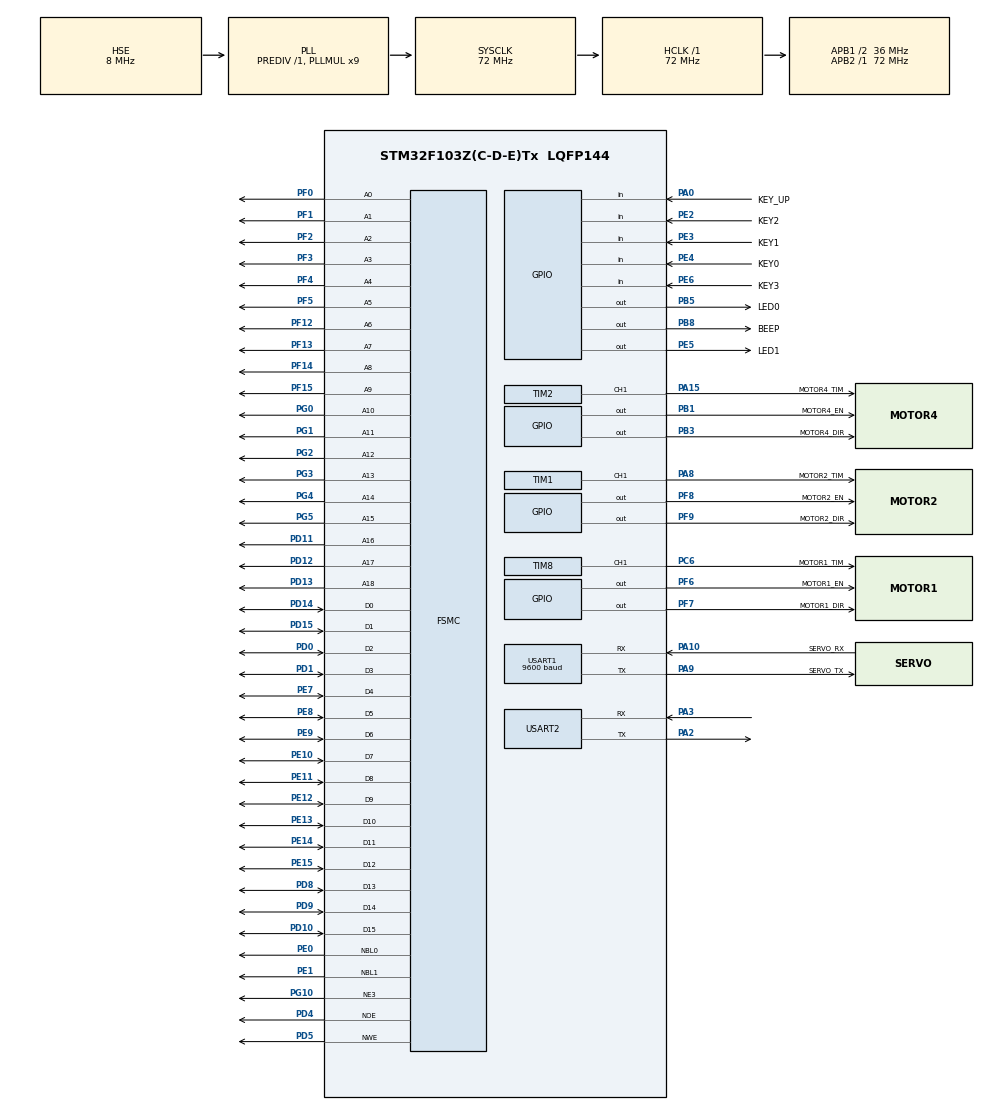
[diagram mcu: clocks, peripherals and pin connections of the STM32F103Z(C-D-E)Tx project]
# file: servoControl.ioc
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Dma.Request0=USART1_RX
Dma.USART1_RX.0.Direction=DMA_PERIPH_TO_MEMORY
Dma.USART1_RX.0.Instance=DMA1_Channel5
Dma.USART1_RX.0.MemDataAlignment=DMA_MDATAALIGN_BYTE
Dma.USART1_RX.0.MemInc=DMA_MINC_ENABLE
Dma.USART1_RX.0.Mode=DMA_NORMAL
Dma.USART1_RX.0.PeriphDataAlignment=DMA_PDATAALIGN_BYTE
Dma.USART1_RX.0.PeriphInc=DMA_PINC_DISABLE
Dma.USART1_RX.0.Priority=DMA_PRIORITY_LOW
FSMC.AddressSetupTime1=0x00
FSMC.BusTurnAroundDuration1=0x00
FSMC.DataSetupTime1=0x03
FSMC.WriteOperation1=FSMC_WRITE_OPERATION_ENABLE
Mcu.Family=STM32F1
Mcu.Name=STM32F103Z(C-D-E)Tx
Mcu.Package=LQFP144
Mcu.UserConstants=PSC,18 - 1;ARR,0xFFFF - 1
NVIC.DMA1_Channel5_IRQn=true\:0\:0\:false\:false\:true\:false\:true\:true
NVIC.PriorityGroup=NVIC_PRIORITYGROUP_4
NVIC.TIM1_CC_IRQn=true\:2\:0\:true\:false\:true\:true\:true\:true
NVIC.TIM2_IRQn=true\:2\:0\:true\:false\:true\:true\:true\:true
NVIC.TIM8_CC_IRQn=true\:2\:0\:true\:false\:true\:true\:true\:true
NVIC.USART1_IRQn=true\:0\:0\:false\:false\:true\:true\:true\:true
NVIC.USART2_IRQn=true\:0\:0\:false\:false\:true\:true\:true\:true
OSC_IN.Mode=HSE-External-Oscillator
OSC_IN.Signal=RCC_OSC_IN
OSC_OUT.Mode=HSE-External-Oscillator
OSC_OUT.Signal=RCC_OSC_OUT
PA0-WKUP.GPIO_Label=KEY_UP
PA0-WKUP.GPIO_PuPd=GPIO_PULLDOWN
PA0-WKUP.Signal=GPIO_Input
PA10.GPIO_Label=SERVO_RX
PA10.Mode=Asynchronous
PA10.Signal=USART1_RX
PA13.Mode=Serial_Wire
PA13.Signal=SYS_JTMS-SWDIO
PA14.Mode=Serial_Wire
PA14.Signal=SYS_JTCK-SWCLK
PA15.GPIO_Label=MOTOR4_TIM
PA15.Signal=S_TIM2_CH1_ETR
PA2.Mode=Asynchronous
PA2.Signal=USART2_TX
PA3.Mode=Asynchronous
PA3.Signal=USART2_RX
PA8.GPIO_Label=MOTOR2_TIM
PA8.GPIO_Speed=GPIO_SPEED_FREQ_HIGH
PA8.Signal=S_TIM1_CH1
PA9.GPIO_Label=SERVO_TX
PA9.Mode=Asynchronous
PA9.Signal=USART1_TX
PB1.GPIO_Label=MOTOR4_EN
PB1.GPIO_Speed=GPIO_SPEED_FREQ_LOW
PB1.Signal=GPIO_Output
PB3.GPIO_Label=MOTOR4_DIR
PB3.GPIO_Speed=GPIO_SPEED_FREQ_HIGH
PB3.PinState=GPIO_PIN_SET
PB3.Signal=GPIO_Output
PB5.GPIO_Label=LED0
PB5.GPIO_PuPd=GPIO_PULLUP
PB5.GPIO_Speed=GPIO_SPEED_FREQ_HIGH
PB5.PinState=GPIO_PIN_SET
PB5.Signal=GPIO_Output
PB8.GPIO_Label=BEEP
PB8.GPIO_ModeDefaultOutputPP=GPIO_MODE_OUTPUT_PP
PB8.GPIO_PuPd=GPIO_PULLUP
PB8.GPIO_Speed=GPIO_SPEED_FREQ_HIGH
PB8.Signal=GPIO_Output
PC6.GPIO_Label=MOTOR1_TIM
PC6.GPIO_Speed=GPIO_SPEED_FREQ_HIGH
PC6.Signal=S_TIM8_CH1
PD0.Signal=FSMC_D2_DA2
PD1.Signal=FSMC_D3_DA3
PD10.Signal=FSMC_D15_DA15
PD11.Signal=FSMC_A16_CLE
PD12.Signal=FSMC_A17_ALE
PD13.Signal=FSMC_A18
PD14.Signal=FSMC_D0_DA0
PD15.Signal=FSMC_D1_DA1
PD4.Signal=FSMC_NOE
PD5.Signal=FSMC_NWE
PD8.Signal=FSMC_D13_DA13
PD9.Signal=FSMC_D14_DA14
PE0.Signal=FSMC_NBL0
PE1.Signal=FSMC_NBL1
PE10.Signal=FSMC_D7_DA7
PE11.Signal=FSMC_D8_DA8
PE12.Signal=FSMC_D9_DA9
PE13.Signal=FSMC_D10_DA10
PE14.Signal=FSMC_D11_DA11
PE15.Signal=FSMC_D12_DA12
PE2.GPIO_Label=KEY2
PE2.GPIO_PuPd=GPIO_PULLUP
PE2.Signal=GPIO_Input
PE3.GPIO_Label=KEY1
PE3.GPIO_PuPd=GPIO_PULLUP
PE3.Signal=GPIO_Input
PE4.GPIO_Label=KEY0
PE4.GPIO_PuPd=GPIO_PULLDOWN
PE4.Signal=GPIO_Input
PE5.GPIO_Label=LED1
PE5.GPIO_PuPd=GPIO_PULLUP
PE5.GPIO_Speed=GPIO_SPEED_FREQ_HIGH
PE5.PinState=GPIO_PIN_SET
PE5.Signal=GPIO_Output
PE6.GPIO_Label=KEY3
PE6.GPIO_PuPd=GPIO_PULLUP
PE6.Signal=GPIO_Input
PE7.Signal=FSMC_D4_DA4
PE8.Signal=FSMC_D5_DA5
PE9.Signal=FSMC_D6_DA6
PF0.Signal=FSMC_A0
PF1.Signal=FSMC_A1
PF12.Signal=FSMC_A6
PF13.Signal=FSMC_A7
PF14.Signal=FSMC_A8
PF15.Signal=FSMC_A9
PF2.Signal=FSMC_A2
PF3.Signal=FSMC_A3
PF4.Signal=FSMC_A4
PF5.Signal=FSMC_A5
PF6.GPIO_Label=MOTOR1_EN
PF6.Signal=GPIO_Output
PF7.GPIO_Label=MOTOR1_DIR
PF7.GPIO_Speed=GPIO_SPEED_FREQ_HIGH
PF7.PinState=GPIO_PIN_SET
PF7.Signal=GPIO_Output
PF8.GPIO_Label=MOTOR2_EN
PF8.Signal=GPIO_Output
PF9.GPIO_Label=MOTOR2_DIR
PF9.GPIO_Speed=GPIO_SPEED_FREQ_HIGH
PF9.PinState=GPIO_PIN_SET
PF9.Signal=GPIO_Output
PG0.Signal=FSMC_A10
PG1.Signal=FSMC_A11
PG10.Mode=NorPsramChipSelect3_1
PG10.Signal=FSMC_NE3
PG2.Signal=FSMC_A12
PG3.Signal=FSMC_A13
PG4.Signal=FSMC_A14
PG5.Signal=FSMC_A15
ProjectManager.HeapSize=0x200
ProjectManager.StackSize=0x400
ProjectManager.TargetToolchain=MDK-ARM V5.32
RCC.AHBFreq_Value=72000000
RCC.APB1CLKDivider=RCC_HCLK_DIV2
RCC.APB1Freq_Value=36000000
RCC.APB1TimFreq_Value=72000000
RCC.APB2Freq_Value=72000000
RCC.APB2TimFreq_Value=72000000
RCC.HCLKFreq_Value=72000000
RCC.PLLMUL=RCC_PLL_MUL9
RCC.PLLSourceVirtual=RCC_PLLSOURCE_HSE
RCC.SYSCLKFreq_VALUE=72000000
RCC.SYSCLKSource=RCC_SYSCLKSOURCE_PLLCLK
RCC.USBFreq_Value=72000000
SH.FSMC_A0.0=FSMC_A0,19b-a1
SH.FSMC_A1.0=FSMC_A1,19b-a1
SH.FSMC_A10.0=FSMC_A10,19b-a1
SH.FSMC_A11.0=FSMC_A11,19b-a1
SH.FSMC_A12.0=FSMC_A12,19b-a1
SH.FSMC_A13.0=FSMC_A13,19b-a1
SH.FSMC_A14.0=FSMC_A14,19b-a1
SH.FSMC_A15.0=FSMC_A15,19b-a1
SH.FSMC_A16_CLE.0=FSMC_A16,19b-a1
SH.FSMC_A17_ALE.0=FSMC_A17,19b-a1
SH.FSMC_A18.0=FSMC_A18,19b-a1
SH.FSMC_A2.0=FSMC_A2,19b-a1
SH.FSMC_A3.0=FSMC_A3,19b-a1
SH.FSMC_A4.0=FSMC_A4,19b-a1
SH.FSMC_A5.0=FSMC_A5,19b-a1
SH.FSMC_A6.0=FSMC_A6,19b-a1
SH.FSMC_A7.0=FSMC_A7,19b-a1
SH.FSMC_A8.0=FSMC_A8,19b-a1
SH.FSMC_A9.0=FSMC_A9,19b-a1
SH.FSMC_D0_DA0.0=FSMC_D0,16b-d1
SH.FSMC_D10_DA10.0=FSMC_D10,16b-d1
SH.FSMC_D11_DA11.0=FSMC_D11,16b-d1
SH.FSMC_D12_DA12.0=FSMC_D12,16b-d1
SH.FSMC_D13_DA13.0=FSMC_D13,16b-d1
SH.FSMC_D14_DA14.0=FSMC_D14,16b-d1
SH.FSMC_D15_DA15.0=FSMC_D15,16b-d1
SH.FSMC_D1_DA1.0=FSMC_D1,16b-d1
SH.FSMC_D2_DA2.0=FSMC_D2,16b-d1
SH.FSMC_D3_DA3.0=FSMC_D3,16b-d1
SH.FSMC_D4_DA4.0=FSMC_D4,16b-d1
SH.FSMC_D5_DA5.0=FSMC_D5,16b-d1
SH.FSMC_D6_DA6.0=FSMC_D6,16b-d1
SH.FSMC_D7_DA7.0=FSMC_D7,16b-d1
SH.FSMC_D8_DA8.0=FSMC_D8,16b-d1
SH.FSMC_D9_DA9.0=FSMC_D9,16b-d1
SH.FSMC_NBL0.0=FSMC_NBL0,2ByteEnable1
SH.FSMC_NBL1.0=FSMC_NBL1,2ByteEnable1
SH.FSMC_NOE.0=FSMC_NOE,Sram1
SH.FSMC_NWE.0=FSMC_NWE,Sram1
SH.S_TIM1_CH1.0=TIM1_CH1,Output Compare1 CH1
SH.S_TIM2_CH1_ETR.0=TIM2_CH1,Output Compare1 CH1
SH.S_TIM8_CH1.0=TIM8_CH1,Output Compare1 CH1
TIM1.Channel-Output\ Compare1\ CH1=TIM_CHANNEL_1
TIM1.OCMode_1=TIM_OCMODE_TOGGLE
TIM1.Period=ARR
TIM1.Prescaler=PSC
TIM1.Pulse-Output\ Compare1\ CH1=500
TIM2.Channel-Output\ Compare1\ CH1=TIM_CHANNEL_1
TIM2.OCMode_1=TIM_OCMODE_TOGGLE
TIM2.Period=ARR
TIM2.Prescaler=PSC
TIM2.Pulse-Output\ Compare1\ CH1=500
TIM6.Period=10000
TIM6.Prescaler=72 - 1
TIM8.AutoReloadPreload=TIM_AUTORELOAD_PRELOAD_DISABLE
TIM8.BreakPolarity=TIM_BREAKPOLARITY_HIGH
TIM8.Channel-Output\ Compare1\ CH1=TIM_CHANNEL_1
TIM8.OCMode_1=TIM_OCMODE_TOGGLE
TIM8.OCPolarity_1=TIM_OCPOLARITY_HIGH
TIM8.Period=ARR
TIM8.Prescaler=PSC
TIM8.Pulse-Output\ Compare1\ CH1=500
USART1.BaudRate=9600
USART1.VirtualMode=VM_ASYNC
USART2.VirtualMode=VM_ASYNC
VP_TIM6_VS_ClockSourceINT.Mode=Enable_Timer
board=custom

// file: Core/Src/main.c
/* USER CODE BEGIN Header */
/**
 ******************************************************************************
 * @file           : main.c
 * @brief          : Main program body
 ******************************************************************************
 * @attention
 *
 * Copyright (c) 2024 STMicroelectronics.
 * All rights reserved.
 *
 * This software is licensed under terms that can be found in the LICENSE file
 * in the root directory of this software component.
 * If no LICENSE file comes with this software, it is provided AS-IS.
 *
 ******************************************************************************
 */
/* USER CODE END Header */
#include "main.h"
#include "dma.h"
#include "tim.h"
#include "usart.h"
#include "gpio.h"
#include "fsmc.h"

/* USER CODE BEGIN PV */
uint8_t key = 0;
uint8_t err = 0;
uint8_t i = 0;
/* USER CODE END PV */

void SystemClock_Config(void);

int main(void)
{

  /* MCU Configuration--------------------------------------------------------*/

  /* Reset of all peripherals, Initializes the Flash interface and the Systick. */
  HAL_Init();

  /* Configure the system clock */
  SystemClock_Config();

  /* Initialize all configured peripherals */
  MX_GPIO_Init();
  MX_DMA_Init();
  MX_USART1_UART_Init();
  MX_TIM8_Init();
  MX_TIM6_Init();
  MX_TIM1_Init();
  MX_FSMC_Init();
  MX_TIM2_Init();
  MX_USART2_UART_Init();
  /* USER CODE BEGIN 2 */
  servoInit();
  mallocInit();
  motorInit();
  ledLed(RED, 3);
  /* USER CODE END 2 */

  /* Infinite loop */
  while (1)
  {

    /* USER CODE BEGIN 3 */
    /* 测试用代�?? */
    key = key_scan(0);
    if (key)
    {
      switch (key)
      {
      case KEY_UP_PRES:
          resetProcess();
        break;
      case KEY0_PRES:
          clawStateChange(CLOSE);
        break;
      case KEY1_PRES:
          motorMove(&motor4, 1600, 0.1, 0.1, 500);
          WAIT(motor4.state == IDLE);

        break;
      case KEY2_PRES:
          motorMove(&motor4, 1600, 0.1, 0.1, -500);
          WAIT(motor4.state == IDLE);
        break;
      case KEY3_PRES:
            testProcess();
        break;
      }
    }
    else
    {
      i++;
      HAL_Delay(10);
      if (i == 50)
      {
        i = 0;
        LED1_TOGGLE();
      }
    }
    /* 测试用代�?? */
  }
  /* USER CODE END 3 */
}

void SystemClock_Config(void)
{
  RCC_OscInitTypeDef RCC_OscInitStruct = {0};
  RCC_ClkInitTypeDef RCC_ClkInitStruct = {0};

  /** Initializes the RCC Oscillators according to the specified parameters
   * in the RCC_OscInitTypeDef structure.
   */
  RCC_OscInitStruct.OscillatorType = RCC_OSCILLATORTYPE_HSE;
  RCC_OscInitStruct.HSEState = RCC_HSE_ON;
  RCC_OscInitStruct.HSEPredivValue = RCC_HSE_PREDIV_DIV1;
  RCC_OscInitStruct.HSIState = RCC_HSI_ON;
  RCC_OscInitStruct.PLL.PLLState = RCC_PLL_ON;
  RCC_OscInitStruct.PLL.PLLSource = RCC_PLLSOURCE_HSE;
  RCC_OscInitStruct.PLL.PLLMUL = RCC_PLL_MUL9;
  if (HAL_RCC_OscConfig(&RCC_OscInitStruct) != HAL_OK)
  {
    Error_Handler();
  }

  /** Initializes the CPU, AHB and APB buses clocks
   */
  RCC_ClkInitStruct.ClockType = RCC_CLOCKTYPE_HCLK | RCC_CLOCKTYPE_SYSCLK | RCC_CLOCKTYPE_PCLK1 | RCC_CLOCKTYPE_PCLK2;
  RCC_ClkInitStruct.SYSCLKSource = RCC_SYSCLKSOURCE_PLLCLK;
  RCC_ClkInitStruct.AHBCLKDivider = RCC_SYSCLK_DIV1;
  RCC_ClkInitStruct.APB1CLKDivider = RCC_HCLK_DIV2;
  RCC_ClkInitStruct.APB2CLKDivider = RCC_HCLK_DIV1;

  if (HAL_RCC_ClockConfig(&RCC_ClkInitStruct, FLASH_LATENCY_2) != HAL_OK)
  {
    Error_Handler();
  }
}

void Error_Handler(void)
{
  __disable_irq();
  while (1)
  {
  }
}
